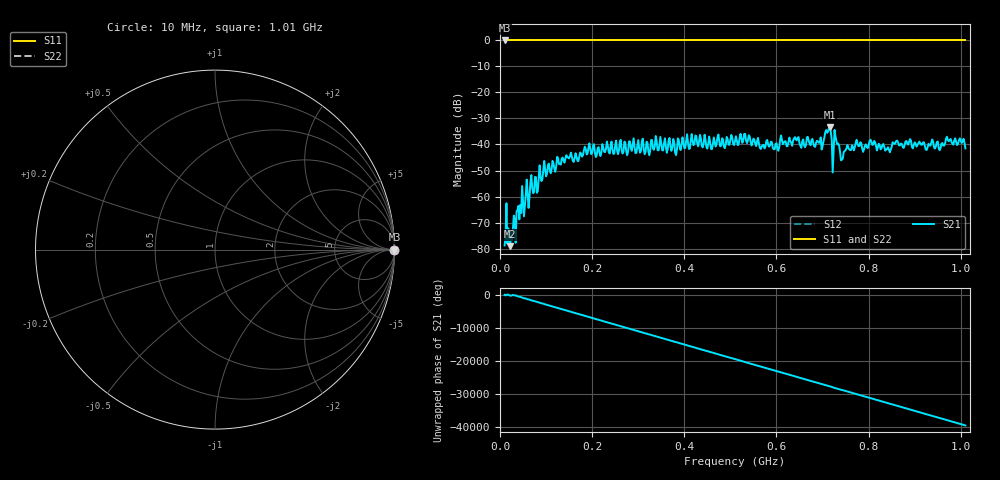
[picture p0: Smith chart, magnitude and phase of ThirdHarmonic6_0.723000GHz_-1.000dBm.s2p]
! 8/16/2025 12:11:17 AM
! C:\ANRITSUVNA\TEMP\TEMP.S2P
! CHANNEL.1
! TR.MEASUREMENT
! RAW.DATA
! RF.CORRECTION.OFF
! AVERAGING.OFF
! IF.BANDWIDTH: 5KHZ
! SWEEPTYPE:  FREQ.SWEEP(Linear)
! Reference Plane Port Info
! PORT:  PORT1  PORT2
! DISTANCE:  0  m  0  m
! TIME:  0  s  0  s
! PHASE.OFFSET:  0  deg.  0  deg.
! LOSS:  0  dB  0  dB
! REF.LOSS:  0  dB  0  dB
! REF.FREQ:  0  Hz  0  Hz
! Power Info
! POWER:  -20  dBm  -20  dBm
! EFF.POWER:  -20  dBm  -20  dBm
! SOURCE.ATTEN:  0  dB  0  dB
! TEST.ATTEN:  0  dB  0  dB
# GHZ S RI R 50.0
! FREQ.GHZ  S11RE  S11IM  S21RE  S21IM  S12RE  S12IM  S22RE  S22IM
!; PortSelection: Port_12
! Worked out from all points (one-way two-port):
!   501 points, 10 MHz to 1.01 GHz, reference 50 ohm
!   highest |S21| = -33.43 dB at 716 MHz (marker M1); lowest = -79.1 dB at 22 MHz (marker M2)
!   lowest |S11| = 0.0 dB at 10 MHz (marker M3)
!   |S11| at or under -10 dB: nowhere
!   |S22| runs from 0.0 to 0.0 dB; largest |S21 - S12| = 1
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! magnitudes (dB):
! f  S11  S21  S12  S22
! 10 MHz  0.0  -78.8  0.0  0.0
! 16 MHz  0.0  -78.1  0.0  0.0
! 22 MHz  0.0  -79.1  0.0  0.0
! 44 MHz  0.0  -63.2  0.0  0.0
! 94 MHz  0.0  -49.9  0.0  0.0
! 178 MHz  0.0  -44.7  0.0  0.0
! 344 MHz  0.0  -42.2  0.0  0.0
! 510 MHz  0.0  -38.7  0.0  0.0
! 600 MHz  0.0  -39.5  0.0  0.0
! 644 MHz  0.0  -38.4  0.0  0.0
! 678 MHz  0.0  -37.8  0.0  0.0
! 698 MHz  0.0  -41.9  0.0  0.0
! 716 MHz  0.0  -33.4  0.0  0.0
! 720 MHz  0.0  -38.2  0.0  0.0
! 730 MHz  0.0  -38.7  0.0  0.0
! 742 MHz  0.0  -45.8  0.0  0.0
! 778 MHz  0.0  -40.6  0.0  0.0
! 844 MHz  0.0  -42.0  0.0  0.0
! 860 MHz  0.0  -38.6  0.0  0.0
! 956 MHz  0.0  -41.5  0.0  0.0
! 972 MHz  0.0  -38.3  0.0  0.0
! 1.01 GHz  0.0  -41.5  0.0  0.0
